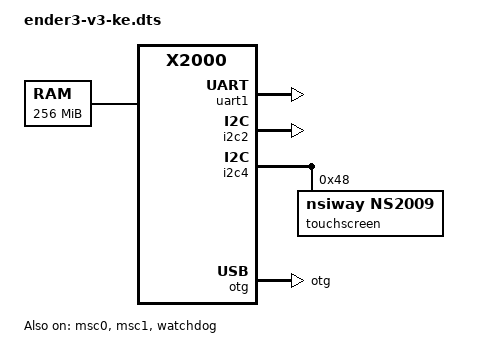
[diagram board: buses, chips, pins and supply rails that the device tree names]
/dts-v1/;

#include <dt-bindings/gpio/gpio.h>
#include <dt-bindings/input/input.h>
#include "x2000.dtsi"

/ {
	compatible = "creality,ender-3-v3-ke", "ingenic,x2000";

	chosen {
		/* The debug console must not be UART1, which is reserved for the MCU. */
		bootargs = "console=ttyS4,115200";
	};

	memory@0 {
		device_type = "memory";
		reg = <0x0 0x10000000>;
	};

	spi_gpio: spi-gpio {
		compatible = "spi-gpio";
		#address-cells = <1>;
		#size-cells = <0>;
		status = "disabled";
	};
};

&uart1_pin {
	uart1_pc_txrx: uart1-pc-txrx {
		ingenic,pinmux = <&gpc 23 24>;
		ingenic,pinmux-funcsel = <PINCTL_FUNCTION1>;
	};
};

&uart1 {
	status = "okay";
	pinctrl-names = "default";
	pinctrl-0 = <&uart1_pc_txrx>;
};

&i2c2 {
	status = "okay";
};

&i2c4 {
	status = "okay";
	pinctrl-names = "default";
	pinctrl-0 = <&i2c4_pc>;

	touchscreen@48 {
		compatible = "nsiway,ns2009";
		reg = <0x48>;
		touchscreen-size-x = <4095>;
		touchscreen-size-y = <4095>;
	};
};

&msc0 {
	status = "okay";
	pinctrl-names = "default";
	pinctrl-0 = <&msc0_8bit>;
	mmc-hs200-1_8v;
	cap-mmc-highspeed;
	non-removable;
	max-frequency = <100000000>;
	bus-width = <8>;
	voltage-ranges = <1800 3300>;
	ingenic,rst-gpios = <0>;
};

&msc1 {
	status = "okay";
	pinctrl-names = "default", "enable", "disable";
	pinctrl-0 = <&msc1_4bit>;
	pinctrl-1 = <&rtc32k_enable>;
	pinctrl-2 = <&rtc32k_disable>;
	cap-sd-highspeed;
	max-frequency = <100000000>;
	bus-width = <4>;
	voltage-ranges = <1800 3300>;
	non-removable;
	keep-power-in-suspend;
	ingenic,sdio_clk = <1>;
	ingenic,removal-manual;
};

&otg {
	dr_mode = "otg";
	status = "okay";
};

&watchdog {
	status = "okay";
};
